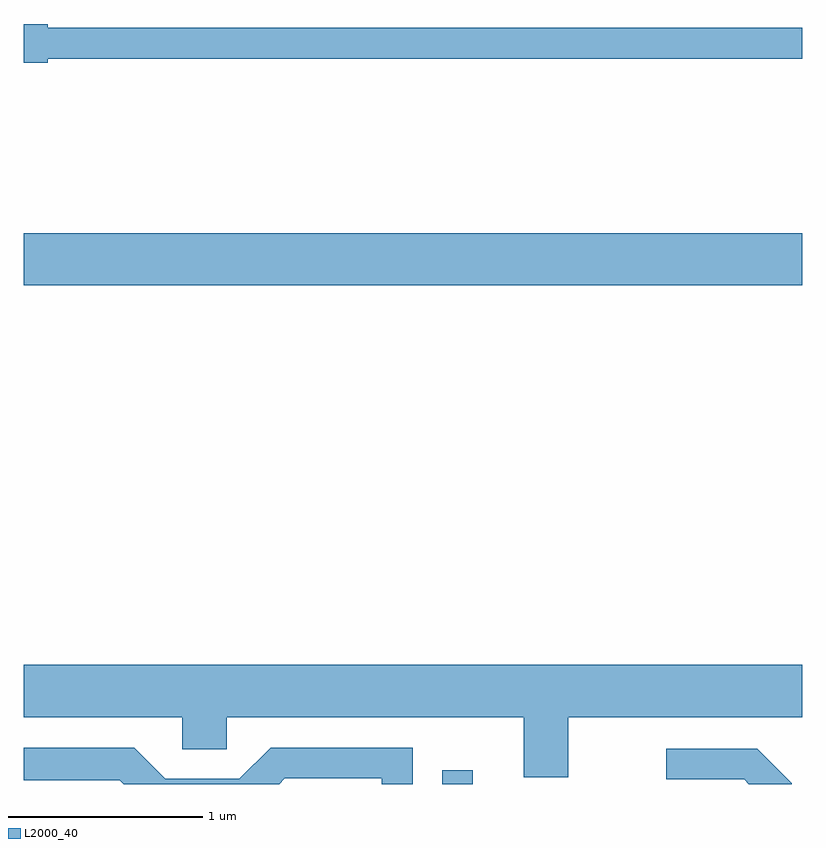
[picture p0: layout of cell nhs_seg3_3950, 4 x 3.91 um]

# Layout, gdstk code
import gdstk
lib = gdstk.Library(unit=1e-6, precision=1e-09)
def R(c, l, rs):  # rectangles x0, y0, x1, y1
    for r in rs: c.add(gdstk.rectangle(r[:2], r[2:], *l))
def P(c, l, *ps):  # polygons
    for p in ps: c.add(gdstk.Polygon(p, *l))
L2000_40 = (2000, 40)

nhs_seg3_3950 = lib.new_cell('nhs_seg3_3950')
R(nhs_seg3_3950, L2000_40, [(303.761,1127.892,303.919,1127.963), (301.611,1130.456,305.611,1130.724)])
P(nhs_seg3_3950, L2000_40, [(301.734,1131.621),(305.611,1131.621),(305.611,1131.779),(301.734,1131.779),(301.734,1131.799),(301.611,1131.799),(301.611,1131.601),(301.734,1131.601)],
  [(304.409,1128.236),(305.611,1128.236),(305.611,1128.504),(301.611,1128.504),(301.611,1128.236),(302.426,1128.236),(302.426,1128.071),(302.654,1128.071),(302.654,1128.236),(304.181,1128.236),(304.181,1127.926),(304.409,1127.926)],
  [(302.952,1127.921),(303.451,1127.921),(303.451,1127.892),(303.609,1127.892),(303.609,1128.079),(302.879,1128.079),(302.719,1127.919),(302.337,1127.919),(302.177,1128.079),(301.611,1128.079),(301.611,1127.911),(302.104,1127.911),(302.123,1127.892),(302.923,1127.892)],
  [(305.559,1127.897),(305.382,1128.074),(304.913,1128.074),(304.913,1127.916),(305.314,1127.916),(305.338,1127.892),(305.559,1127.892)])

lib.write_gds('nhs_seg3_3950.gds')
